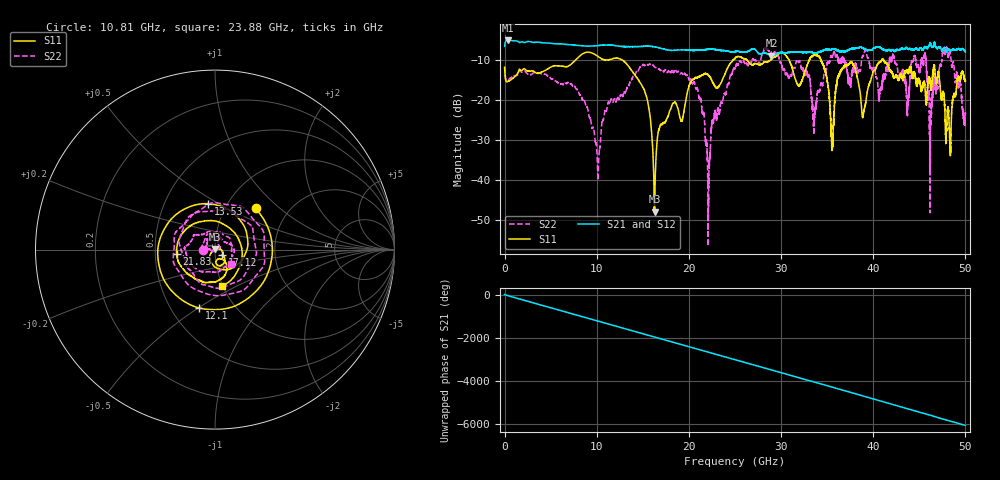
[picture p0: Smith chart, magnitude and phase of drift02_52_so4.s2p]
!Created with skrf (http://scikit-rf.org).
# Hz S RI R 50.0
!freq ReS11 ImS11 ReS21 ImS21 ReS12 ImS12 ReS22 ImS22
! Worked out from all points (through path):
!   10001 points, 300 kHz to 50 GHz, reference 50 ohm
!   highest |S21| = -5.04 dB at 325.3 MHz (marker M1); lowest = -8.9 dB at 28.96 GHz (marker M2)
!   group delay of S21, straight-line fit = 336 ps
!   lowest |S11| = -47.9 dB at 16.27 GHz (marker M3), VSWR 1.01, Z = 49.9 + j0.39 ohm
!   |S11| at or under -10 dB: start of sweep to 7.666 GHz; 12.81 GHz to 24.77 GHz (11.96 GHz wide, 63.6 % of centre); 41.12 GHz to end of sweep (the widest 3 of 13)
!   |S22| runs from -56.5 to -6.6 dB; largest |S21 - S12| = 0.031
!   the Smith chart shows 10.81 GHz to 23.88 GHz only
!   S11 on the Smith chart (normalised r, x): 10.81 GHz: 1.38, +0.70; 12.1 GHz: 0.69, -0.50; 13.53 GHz: 0.82, +0.45; 17.12 GHz: 1.09, -0.06; 21.83 GHz: 0.65, -0.03; 23.88 GHz: 0.99, -0.42
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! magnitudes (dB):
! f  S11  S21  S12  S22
! 300 kHz  -11.7  -6.5  -6.5  -11.6
! 325.3 MHz  -15.3  -5.0  -5.0  -15.1
! 8.335 GHz  -8.6  -6.4  -6.4  -19.1
! 10.11 GHz  -9.0  -6.3  -6.3  -38.4
! 10.81 GHz  -9.9  -6.2  -6.2  -23.7
! 12.1 GHz  -9.5  -6.4  -6.4  -20.4
! 13.53 GHz  -11.8  -6.6  -6.6  -16.0
! 16.27 GHz  -47.9  -6.6  -6.6  -11.7
! 16.67 GHz  -27.8  -6.8  -6.8  -12.2
! 17.12 GHz  -26.0  -7.1  -7.1  -12.3
! 21.83 GHz  -13.3  -7.3  -7.3  -29.8
! 23.88 GHz  -13.6  -7.6  -7.6  -18.4
! 25 GHz  -9.5  -7.8  -7.8  -12.0
! 28.96 GHz  -9.8  -8.9  -8.9  -8.0
! 33.34 GHz  -9.1  -8.0  -8.0  -20.1
! 35.55 GHz  -30.8  -7.2  -7.2  -9.1
! 36.77 GHz  -12.0  -7.9  -8.3  -9.3
! 41.67 GHz  -11.8  -7.4  -7.5  -11.9
! 45.5 GHz  -15.5  -6.9  -6.9  -9.7
! 46.25 GHz  -17.3  -6.1  -6.1  -23.3
! 48.1 GHz  -21.7  -7.1  -7.1  -9.0
! 50 GHz  -15.1  -7.9  -7.8  -23.5
